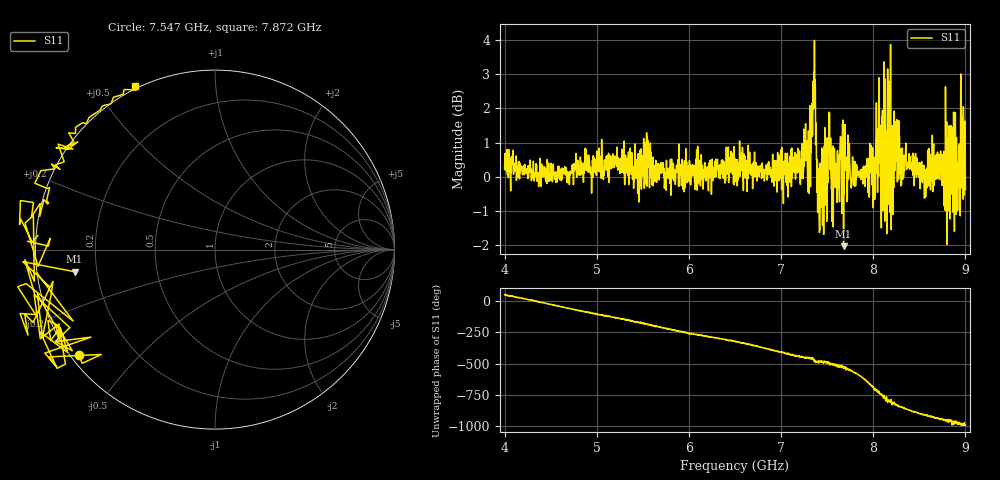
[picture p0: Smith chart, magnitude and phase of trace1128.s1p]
! Created with skrf 1.8.0 (http://scikit-rf.org).
# Hz S RI R 50.0
!freq ReS11 ImS11
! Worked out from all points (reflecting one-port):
!   1601 points, 4 GHz to 9 GHz, reference 50 ohm
!   lowest |S11| = -2.0 dB at 7.678 GHz (marker M1), VSWR 8.63, Z = 5.83 - j3.85 ohm
!   phase of S11 starts at 53 deg and turns -1043 deg over the sweep
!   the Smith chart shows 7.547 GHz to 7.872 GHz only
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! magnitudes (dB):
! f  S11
! 4 GHz  0.2
! 4.625 GHz  -0.1
! 5.25 GHz  0.1
! 5.875 GHz  0.2
! 6.5 GHz  0.3
! 7.125 GHz  0.5
! 7.3 GHz  0.1
! 7.353 GHz  2.0
! 7.369 GHz  2.8
! 7.397 GHz  -1.0
! 7.412 GHz  -1.1
! 7.438 GHz  -0.8
! 7.503 GHz  0.6
! 7.609 GHz  0.3
! 7.678 GHz  -2.0
! 7.75 GHz  0.1
! 8 GHz  -0.9
! 8.056 GHz  0.2
! 8.066 GHz  2.0
! 8.153 GHz  0.6
! 8.181 GHz  1.1
! 8.197 GHz  0.6
! 8.375 GHz  0.4
! 8.556 GHz  -0.6
! 8.834 GHz  1.2
! 8.919 GHz  -0.2
! 8.972 GHz  0.4
! 9 GHz  -0.4
